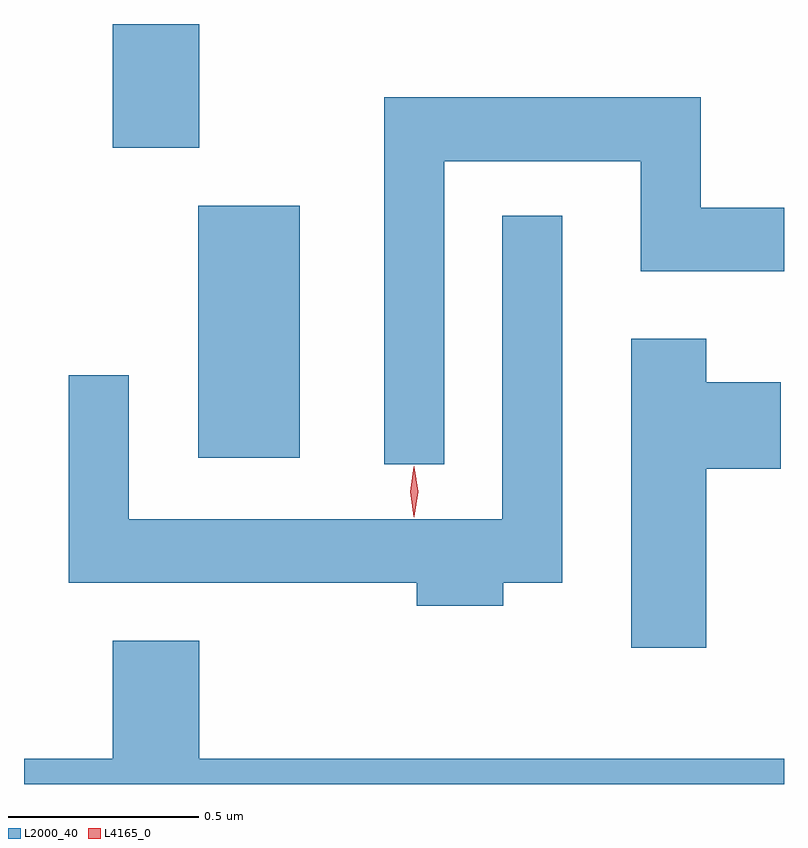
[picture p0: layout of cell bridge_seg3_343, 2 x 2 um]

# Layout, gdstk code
import gdstk
lib = gdstk.Library(unit=1e-6, precision=1e-09)
def R(c, l, rs):  # rectangles x0, y0, x1, y1
    for r in rs: c.add(gdstk.rectangle(r[:2], r[2:], *l))
def P(c, l, *ps):  # polygons
    for p in ps: c.add(gdstk.Polygon(p, *l))
L2000_40 = (2000, 40)
L4165_0 = (4165, 0)

bridge_seg3_343 = lib.new_cell('bridge_seg3_343')
R(bridge_seg3_343, L2000_40, [(527.176,1167.036,527.444,1167.699), (526.951,1167.851,527.179,1168.177)])
P(bridge_seg3_343, L2000_40, [(527.824,1167.816),(528.341,1167.816),(528.341,1167.526),(528.718,1167.526),(528.718,1167.694),(528.499,1167.694),(528.499,1167.984),(527.666,1167.984),(527.666,1167.018),(527.824,1167.018)],
  [(527.979,1166.706),(528.134,1166.706),(528.134,1167.673),(527.976,1167.673),(527.976,1166.874),(526.994,1166.874),(526.994,1167.253),(526.836,1167.253),(526.836,1166.706),(527.751,1166.706),(527.751,1166.646),(527.979,1166.646)],
  [(528.514,1167.006),(528.709,1167.006),(528.709,1167.234),(528.514,1167.234),(528.514,1167.349),(528.316,1167.349),(528.316,1166.536),(528.514,1166.536)],
  [(528.718,1166.244),(527.179,1166.244),(527.179,1166.554),(526.951,1166.554),(526.951,1166.244),(526.718,1166.244),(526.718,1166.177),(528.718,1166.177)])
P(bridge_seg3_343, L4165_0, [(527.745,1166.879),(527.744,1166.88),(527.735,1166.946),(527.744,1167.012),(527.745,1167.013),(527.745,1167.012),(527.755,1166.946),(527.745,1166.88)])

lib.write_gds('bridge_seg3_343.gds')
